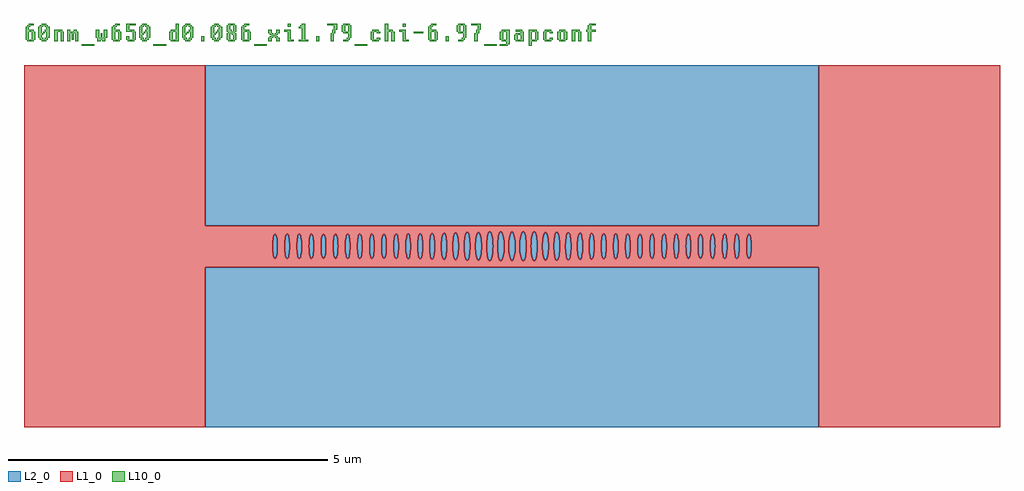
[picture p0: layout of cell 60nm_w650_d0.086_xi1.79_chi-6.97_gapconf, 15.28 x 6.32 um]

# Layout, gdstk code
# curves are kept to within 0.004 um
import gdstk
lib = gdstk.Library(unit=1e-6, precision=1e-09)
def R(c, l, rs):  # rectangles x0, y0, x1, y1
    for r in rs: c.add(gdstk.rectangle(r[:2], r[2:], *l))
def A(c, l, x, y, w, h, nx, ny, dx, dy):  # array of equal rectangles
    R(c, l, [(x+i*dx, y+j*dy, x+i*dx+w, y+j*dy+h) for i in range(nx) for j in range(ny)])
def P(c, l, *ps):  # polygons
    for p in ps: c.add(gdstk.Polygon(p, *l))
L1_0 = (1, 0)
L2_0 = (2, 0)
L10_0 = (10, 0)

c_60nm_w650_d0_086_xi1_79_ = lib.new_cell('60nm_w650_d0.086_xi1.79_chi-6.97_gapconf')
P(c_60nm_w650_d0_086_xi1_79_, L1_0, [(-2.796,0.075),(-2.796,0.325),(-4.803,0.325),(-4.803,2.835),(-7.638,2.835),(-7.638,-0.038),(-3.746,-0.038),(-3.74,0.108),(-3.73,0.162),(-3.709,0.195),(-3.694,0.18),(-3.682,0.138),(-3.671,0),(-3.557,0),(-3.546,0.138),(-3.534,0.18),(-3.519,0.195),(-3.512,0.191),(-3.498,0.162),(-3.487,0.108),(-3.482,-0.038),(-3.367,-0.038),(-3.361,0.108),(-3.351,0.162),(-3.33,0.195),(-3.315,0.18),(-3.303,0.138),(-3.292,0),(-3.178,0),(-3.167,0.138),(-3.155,0.18),(-3.14,0.195),(-3.119,0.162),(-3.108,0.108),(-3.103,-0.038),(-2.988,-0.038),(-2.982,0.108),(-2.972,0.162),(-2.951,0.195),(-2.943,0.191),(-2.929,0.162),(-2.913,0.038),(-2.919,-0.108),(-2.929,-0.162),(-2.943,-0.191),(-2.951,-0.195),(-2.972,-0.162),(-2.988,-0.038),(-3.103,-0.038),(-3.119,-0.162),(-3.133,-0.191),(-3.147,-0.191),(-3.161,-0.162),(-3.172,-0.108),(-3.178,0),(-3.292,0),(-3.303,-0.138),(-3.315,-0.18),(-3.33,-0.195),(-3.351,-0.162),(-3.367,-0.038),(-3.482,-0.038),(-3.498,-0.162),(-3.512,-0.191),(-3.526,-0.191),(-3.54,-0.162),(-3.551,-0.108),(-3.557,0),(-3.671,0),(-3.682,-0.138),(-3.694,-0.18),(-3.709,-0.195),(-3.73,-0.162),(-3.746,-0.038),(-7.638,-0.038),(-7.638,-2.835),(-4.803,-2.835),(-4.803,-0.325),(-2.796,-0.325)],
  [(-1.849,0.075),(-1.835,0.162),(-1.821,0.191),(-1.821,0.325),(-2.796,0.325),(-2.796,0.075),(-2.776,0.18),(-2.761,0.195),(-2.754,0.191),(-2.74,0.162),(-2.729,0.108),(-2.724,-0.038),(-2.609,-0.038),(-2.603,0.108),(-2.593,0.162),(-2.572,0.195),(-2.557,0.18),(-2.545,0.138),(-2.534,0),(-2.42,0),(-2.409,0.138),(-2.397,0.18),(-2.382,0.195),(-2.361,0.162),(-2.35,0.108),(-2.345,-0.038),(-2.23,-0.038),(-2.224,0.108),(-2.214,0.162),(-2.193,0.195),(-2.178,0.18),(-2.166,0.138),(-2.155,0),(-2.041,0),(-2.03,0.138),(-2.018,0.18),(-2.003,0.195),(-1.996,0.191),(-1.982,0.162),(-1.971,0.108),(-1.965,0),(-1.976,-0.138),(-1.989,-0.18),(-2.003,-0.195),(-2.018,-0.18),(-2.03,-0.138),(-2.041,0),(-2.155,0),(-2.166,-0.138),(-2.178,-0.18),(-2.193,-0.195),(-2.214,-0.162),(-2.23,-0.038),(-2.345,-0.038),(-2.355,-0.138),(-2.368,-0.18),(-2.382,-0.195),(-2.397,-0.18),(-2.409,-0.138),(-2.42,0),(-2.534,0),(-2.545,-0.138),(-2.557,-0.18),(-2.572,-0.195),(-2.593,-0.162),(-2.609,-0.038),(-2.724,-0.038),(-2.734,-0.138),(-2.747,-0.18),(-2.761,-0.195),(-2.776,-0.18),(-2.782,-0.162),(-2.796,-0.075),(-2.796,-0.325),(-1.821,-0.325),(-1.821,-0.191),(-1.835,-0.162),(-1.849,-0.075)],
  [(-1.806,0.191),(-1.792,0.162),(-1.782,0.108),(-1.776,0),(-1.663,0),(-1.651,0.139),(-1.639,0.181),(-1.624,0.196),(-1.61,0.181),(-1.597,0.139),(-1.586,0),(-1.475,0),(-1.464,0.141),(-1.451,0.184),(-1.436,0.199),(-1.421,0.184),(-1.408,0.141),(-1.399,0.076),(-1.396,-0.019),(-1.29,-0.019),(-1.288,0.057),(-1.276,0.154),(-1.262,0.193),(-1.247,0.204),(-1.232,0.185),(-1.219,0.141),(-1.209,-0.02),(-1.107,-0.02),(-1.098,0.129),(-1.078,0.197),(-1.062,0.209),(-1.046,0.19),(-1.033,0.144),(-1.024,0.078),(-1.021,-0.02),(-1.033,-0.144),(-1.046,-0.19),(-1.062,-0.209),(-1.078,-0.197),(-1.092,-0.158),(-1.107,-0.02),(-1.209,-0.02),(-1.219,-0.141),(-1.232,-0.185),(-1.247,-0.204),(-1.262,-0.193),(-1.276,-0.154),(-1.29,-0.019),(-1.396,-0.019),(-1.408,-0.141),(-1.421,-0.184),(-1.436,-0.199),(-1.451,-0.184),(-1.464,-0.141),(-1.475,0),(-1.586,0),(-1.597,-0.139),(-1.61,-0.181),(-1.624,-0.196),(-1.639,-0.181),(-1.651,-0.139),(-1.663,0),(-1.776,0),(-1.778,-0.075),(-1.792,-0.162),(-1.806,-0.191),(-1.821,-0.191),(-1.821,-0.325),(-0.888,-0.325),(-0.888,-0.212),(-0.904,-0.185),(-0.917,-0.132),(-0.926,-0.02),(-0.917,0.132),(-0.904,0.185),(-0.888,0.212),(-0.888,0.325),(-1.821,0.325),(-1.821,0.191)],
  [(-0.048,0.082),(-0.031,0.182),(-0.023,0.204),(-0.005,0.227),(-0.005,0.325),(-0.888,0.325),(-0.888,0.212),(-0.871,0.208),(-0.849,0.147),(-0.837,0.04),(-0.837,-0.04),(-0.748,-0.04),(-0.748,0.04),(-0.736,0.147),(-0.722,0.195),(-0.706,0.217),(-0.688,0.21),(-0.667,0.147),(-0.655,0.04),(-0.655,-0.041),(-0.572,-0.041),(-0.572,0.041),(-0.56,0.15),(-0.545,0.199),(-0.528,0.221),(-0.51,0.214),(-0.487,0.15),(-0.475,0),(-0.398,0),(-0.385,0.152),(-0.37,0.201),(-0.352,0.224),(-0.343,0.224),(-0.325,0.201),(-0.31,0.152),(-0.297,0),(-0.225,0),(-0.212,0.153),(-0.188,0.218),(-0.169,0.226),(-0.15,0.203),(-0.135,0.153),(-0.122,0),(-0.135,-0.153),(-0.15,-0.203),(-0.169,-0.226),(-0.188,-0.218),(-0.212,-0.153),(-0.225,0),(-0.297,0),(-0.31,-0.152),(-0.325,-0.201),(-0.343,-0.224),(-0.362,-0.216),(-0.385,-0.152),(-0.398,0),(-0.475,0),(-0.487,-0.15),(-0.502,-0.199),(-0.519,-0.221),(-0.537,-0.214),(-0.553,-0.177),(-0.572,-0.041),(-0.655,-0.041),(-0.673,-0.174),(-0.688,-0.21),(-0.706,-0.217),(-0.73,-0.174),(-0.748,-0.04),(-0.837,-0.04),(-0.855,-0.174),(-0.871,-0.208),(-0.888,-0.212),(-0.888,-0.325),(-0.005,-0.325),(-0.005,-0.227),(-0.023,-0.204),(-0.044,-0.12),(-0.052,0)],
  [(0.048,-0.082),(0.038,-0.153),(0.023,-0.204),(0.005,-0.227),(-0.005,-0.227),(-0.005,-0.325),(0.867,-0.325),(0.867,-0.202),(0.846,-0.132),(0.837,-0.02),(0.846,0.132),(0.867,0.202),(0.867,0.325),(-0.005,0.325),(-0.005,0.227),(0.014,0.219),(0.031,0.182),(0.044,0.12),(0.052,0),(0.122,0),(0.135,0.153),(0.15,0.203),(0.169,0.226),(0.188,0.218),(0.212,0.153),(0.225,0),(0.297,0),(0.31,0.152),(0.325,0.201),(0.343,0.224),(0.362,0.216),(0.385,0.152),(0.395,0.081),(0.397,-0.041),(0.475,-0.041),(0.475,0.041),(0.487,0.15),(0.502,0.199),(0.519,0.221),(0.537,0.214),(0.56,0.15),(0.572,0),(0.654,0),(0.661,0.115),(0.673,0.174),(0.688,0.21),(0.706,0.217),(0.73,0.174),(0.748,0.04),(0.748,-0.04),(0.736,-0.147),(0.722,-0.195),(0.706,-0.217),(0.688,-0.21),(0.673,-0.174),(0.661,-0.115),(0.654,0),(0.572,0),(0.56,-0.15),(0.545,-0.199),(0.528,-0.221),(0.51,-0.214),(0.494,-0.177),(0.475,-0.041),(0.397,-0.041),(0.385,-0.152),(0.37,-0.201),(0.352,-0.224),(0.343,-0.224),(0.325,-0.201),(0.31,-0.152),(0.297,0),(0.225,0),(0.212,-0.153),(0.196,-0.203),(0.178,-0.226),(0.159,-0.218),(0.15,-0.203),(0.135,-0.153),(0.122,0),(0.052,0)],
  [(0.884,0.213),(0.9,0.194),(0.914,0.147),(0.926,0.04),(0.926,-0.02),(1.021,-0.02),(1.03,0.129),(1.043,0.181),(1.058,0.207),(1.066,0.209),(1.082,0.19),(1.095,0.144),(1.104,0.078),(1.107,-0.019),(1.208,-0.019),(1.21,0.057),(1.222,0.154),(1.236,0.193),(1.251,0.204),(1.266,0.185),(1.279,0.141),(1.29,0),(1.396,0),(1.408,0.141),(1.421,0.184),(1.436,0.199),(1.451,0.184),(1.464,0.141),(1.475,0),(1.586,0),(1.597,0.139),(1.61,0.181),(1.624,0.196),(1.632,0.192),(1.646,0.163),(1.656,0.109),(1.662,-0.038),(1.646,-0.163),(1.632,-0.192),(1.624,-0.196),(1.61,-0.181),(1.597,-0.139),(1.586,0),(1.475,0),(1.464,-0.141),(1.451,-0.184),(1.436,-0.199),(1.421,-0.184),(1.408,-0.141),(1.396,0),(1.29,0),(1.279,-0.141),(1.266,-0.185),(1.251,-0.204),(1.236,-0.193),(1.222,-0.154),(1.208,-0.019),(1.107,-0.019),(1.095,-0.144),(1.082,-0.19),(1.066,-0.209),(1.05,-0.197),(1.036,-0.158),(1.021,-0.02),(0.926,-0.02),(0.919,-0.116),(0.908,-0.174),(0.892,-0.208),(0.875,-0.212),(0.867,-0.202),(0.867,-0.325),(1.814,-0.325),(1.814,-0.195),(1.806,-0.191),(1.792,-0.162),(1.776,-0.038),(1.782,0.108),(1.792,0.162),(1.806,0.191),(1.814,0.195),(1.814,0.325),(0.867,0.325),(0.867,0.202),(0.875,0.212)],
  [(2.726,0.075),(2.74,0.162),(2.761,0.195),(2.776,0.18),(2.793,0.108),(2.793,0.325),(1.814,0.325),(1.814,0.195),(1.828,0.18),(1.84,0.138),(1.851,0),(1.965,0),(1.976,0.138),(1.989,0.18),(2.003,0.195),(2.018,0.18),(2.035,0.108),(2.04,-0.038),(2.155,-0.038),(2.161,0.108),(2.171,0.162),(2.185,0.191),(2.193,0.195),(2.207,0.18),(2.219,0.138),(2.23,0),(2.344,0),(2.355,0.138),(2.368,0.18),(2.382,0.195),(2.397,0.18),(2.414,0.108),(2.419,-0.038),(2.534,-0.038),(2.54,0.108),(2.55,0.162),(2.564,0.191),(2.572,0.195),(2.593,0.162),(2.609,0.038),(2.603,-0.108),(2.593,-0.162),(2.572,-0.195),(2.564,-0.191),(2.55,-0.162),(2.534,-0.038),(2.419,-0.038),(2.403,-0.162),(2.389,-0.191),(2.375,-0.191),(2.361,-0.162),(2.35,-0.108),(2.344,0),(2.23,0),(2.219,-0.138),(2.207,-0.18),(2.193,-0.195),(2.185,-0.191),(2.171,-0.162),(2.155,-0.038),(2.04,-0.038),(2.03,-0.138),(2.018,-0.18),(2.003,-0.195),(1.989,-0.18),(1.976,-0.138),(1.965,0),(1.851,0),(1.84,-0.138),(1.828,-0.18),(1.814,-0.195),(1.814,-0.325),(2.793,-0.325),(2.793,-0.108),(2.782,-0.162),(2.768,-0.191),(2.754,-0.191),(2.74,-0.162),(2.726,-0.075)],
  [(2.793,-0.108),(2.793,-0.325),(4.803,-0.325),(4.803,-2.835),(7.638,-2.835),(7.638,2.835),(4.803,2.835),(4.803,0.325),(2.793,0.325),(2.798,-0.038),(2.913,-0.038),(2.919,0.108),(2.929,0.162),(2.943,0.191),(2.951,0.195),(2.965,0.18),(2.977,0.138),(2.988,0),(3.102,0),(3.113,0.138),(3.133,0.191),(3.147,0.191),(3.161,0.162),(3.172,0.108),(3.177,-0.038),(3.292,-0.038),(3.298,0.108),(3.308,0.162),(3.322,0.191),(3.33,0.195),(3.344,0.18),(3.356,0.138),(3.367,0),(3.481,0),(3.492,0.138),(3.505,0.18),(3.519,0.195),(3.534,0.18),(3.551,0.108),(3.556,-0.038),(3.671,-0.038),(3.677,0.108),(3.687,0.162),(3.701,0.191),(3.709,0.195),(3.73,0.162),(3.746,0.038),(3.74,-0.108),(3.73,-0.162),(3.709,-0.195),(3.701,-0.191),(3.687,-0.162),(3.671,-0.038),(3.556,-0.038),(3.54,-0.162),(3.526,-0.191),(3.512,-0.191),(3.498,-0.162),(3.487,-0.108),(3.481,0),(3.367,0),(3.356,-0.138),(3.344,-0.18),(3.33,-0.195),(3.322,-0.191),(3.308,-0.162),(3.292,-0.038),(3.177,-0.038),(3.161,-0.162),(3.147,-0.191),(3.133,-0.191),(3.119,-0.162),(3.108,-0.108),(3.102,0),(2.988,0),(2.977,-0.138),(2.965,-0.18),(2.951,-0.195),(2.943,-0.191),(2.929,-0.162),(2.913,-0.038),(2.798,-0.038)])
R(c_60nm_w650_d0_086_xi1_79_, L2_0, [(-4.803,-2.835,4.803,-0.325), (-4.803,0.325,4.803,2.835)])
P(c_60nm_w650_d0_086_xi1_79_, L2_0, [(1.968,-0.075),(1.982,-0.162),(2.003,-0.195),(2.018,-0.18),(2.035,-0.108),(2.041,0),(2.035,0.108),(2.018,0.18),(2.003,0.195),(1.982,0.162),(1.971,0.108),(1.965,0)],
  [(-0.222,-0.082),(-0.212,-0.153),(-0.188,-0.218),(-0.178,-0.226),(-0.159,-0.218),(-0.135,-0.153),(-0.123,-0.042),(-0.125,0.082),(-0.142,0.181),(-0.15,0.203),(-0.169,0.226),(-0.188,0.218),(-0.212,0.153),(-0.224,0.042)],
  [(3.484,-0.075),(3.498,-0.162),(3.519,-0.195),(3.534,-0.18),(3.551,-0.108),(3.557,0),(3.551,0.108),(3.534,0.18),(3.519,0.195),(3.498,0.162),(3.487,0.108),(3.481,0)],
  [(-3.554,-0.075),(-3.54,-0.162),(-3.534,-0.18),(-3.519,-0.195),(-3.498,-0.162),(-3.487,-0.108),(-3.481,0),(-3.487,0.108),(-3.498,0.162),(-3.519,0.195),(-3.534,0.18),(-3.551,0.108),(-3.557,0)],
  [(3.105,-0.075),(3.119,-0.162),(3.14,-0.195),(3.155,-0.18),(3.172,-0.108),(3.178,0),(3.172,0.108),(3.155,0.18),(3.14,0.195),(3.119,0.162),(3.108,0.108),(3.102,0)],
  [(-3.175,-0.075),(-3.161,-0.162),(-3.155,-0.18),(-3.14,-0.195),(-3.119,-0.162),(-3.108,-0.108),(-3.102,0),(-3.108,0.108),(-3.119,0.162),(-3.14,0.195),(-3.155,0.18),(-3.172,0.108),(-3.178,0)],
  [(2.726,-0.075),(2.74,-0.162),(2.761,-0.195),(2.776,-0.18),(2.793,-0.108),(2.799,0),(2.793,0.108),(2.776,0.18),(2.761,0.195),(2.74,0.162),(2.729,0.108),(2.723,0)],
  [(-2.796,-0.075),(-2.782,-0.162),(-2.776,-0.18),(-2.761,-0.195),(-2.74,-0.162),(-2.729,-0.108),(-2.723,0),(-2.729,0.108),(-2.74,0.162),(-2.761,0.195),(-2.776,0.18),(-2.793,0.108),(-2.799,0)],
  [(2.347,-0.075),(2.361,-0.162),(2.382,-0.195),(2.397,-0.18),(2.414,-0.108),(2.42,0),(2.414,0.108),(2.397,0.18),(2.382,0.195),(2.361,0.162),(2.35,0.108),(2.344,0)],
  [(-2.417,-0.075),(-2.403,-0.162),(-2.397,-0.18),(-2.382,-0.195),(-2.361,-0.162),(-2.35,-0.108),(-2.344,0),(-2.35,0.108),(-2.361,0.162),(-2.382,0.195),(-2.397,0.18),(-2.414,0.108),(-2.42,0)],
  [(-2.038,-0.075),(-2.024,-0.162),(-2.018,-0.18),(-2.003,-0.195),(-1.982,-0.162),(-1.971,-0.108),(-1.965,0),(-1.971,0.108),(-1.982,0.162),(-2.003,0.195),(-2.018,0.18),(-2.035,0.108),(-2.041,0)],
  [(-1.66,-0.075),(-1.646,-0.163),(-1.632,-0.192),(-1.624,-0.196),(-1.61,-0.181),(-1.592,-0.109),(-1.586,0),(-1.592,0.109),(-1.603,0.163),(-1.624,0.196),(-1.632,0.192),(-1.646,0.163),(-1.656,0.109),(-1.663,0)],
  [(1.589,-0.075),(1.603,-0.163),(1.624,-0.196),(1.632,-0.192),(1.646,-0.163),(1.656,-0.109),(1.663,0),(1.66,0.075),(1.646,0.163),(1.632,0.192),(1.624,0.196),(1.603,0.163),(1.592,0.109),(1.586,0)],
  [(1.472,0.076),(1.464,0.141),(1.444,0.196),(1.428,0.196),(1.421,0.184),(1.403,0.111),(1.396,0),(1.399,-0.076),(1.414,-0.166),(1.428,-0.196),(1.436,-0.199),(1.444,-0.196),(1.458,-0.166),(1.469,-0.111),(1.475,0)],
  [(-0.301,0.081),(-0.317,0.18),(-0.343,0.224),(-0.362,0.216),(-0.37,0.201),(-0.391,0.118),(-0.398,0),(-0.391,-0.118),(-0.378,-0.18),(-0.362,-0.216),(-0.352,-0.224),(-0.343,-0.224),(-0.325,-0.201),(-0.31,-0.152),(-0.298,-0.041)],
  [(0.658,-0.079),(0.673,-0.174),(0.688,-0.21),(0.697,-0.217),(0.714,-0.21),(0.736,-0.147),(0.748,-0.04),(0.745,0.079),(0.73,0.174),(0.706,0.217),(0.688,0.21),(0.68,0.195),(0.661,0.115),(0.654,0)],
  [(-1.472,-0.076),(-1.464,-0.141),(-1.444,-0.196),(-1.428,-0.196),(-1.421,-0.184),(-1.403,-0.111),(-1.396,-0.019),(-1.399,0.076),(-1.414,0.166),(-1.428,0.196),(-1.436,0.199),(-1.444,0.196),(-1.458,0.166),(-1.469,0.111),(-1.475,0)],
  [(0.301,-0.081),(0.317,-0.18),(0.343,-0.224),(0.362,-0.216),(0.37,-0.201),(0.391,-0.118),(0.398,0),(0.391,0.118),(0.378,0.18),(0.362,0.216),(0.352,0.224),(0.343,0.224),(0.325,0.201),(0.31,0.152),(0.298,0.041)],
  [(0.222,0.082),(0.212,0.153),(0.188,0.218),(0.178,0.226),(0.159,0.218),(0.135,0.153),(0.123,0.042),(0.125,-0.082),(0.142,-0.181),(0.15,-0.203),(0.169,-0.226),(0.188,-0.218),(0.212,-0.153),(0.224,-0.042)],
  [(0.048,0.082),(0.031,0.182),(0.023,0.204),(0.005,0.227),(-0.005,0.227),(-0.023,0.204),(-0.044,0.12),(-0.052,0),(-0.044,-0.12),(-0.023,-0.204),(-0.005,-0.227),(0.005,-0.227),(0.023,-0.204),(0.044,-0.12),(0.052,0)],
  [(1.287,0.076),(1.273,0.166),(1.251,0.204),(1.243,0.202),(1.228,0.176),(1.217,0.126),(1.208,0.019),(1.213,-0.093),(1.228,-0.176),(1.243,-0.202),(1.251,-0.204),(1.273,-0.166),(1.283,-0.11),(1.29,0)],
  [(-1.285,-0.093),(-1.269,-0.176),(-1.255,-0.202),(-1.247,-0.204),(-1.225,-0.166),(-1.214,-0.11),(-1.208,0),(-1.214,0.11),(-1.225,0.166),(-1.247,0.204),(-1.262,0.193),(-1.281,0.126),(-1.29,0.019)],
  [(-0.921,-0.098),(-0.911,-0.162),(-0.888,-0.212),(-0.871,-0.208),(-0.863,-0.194),(-0.844,-0.116),(-0.837,-0.04),(-0.84,0.079),(-0.855,0.174),(-0.871,0.208),(-0.879,0.213),(-0.888,0.212),(-0.904,0.185),(-0.917,0.132),(-0.926,0.02)],
  [(0.842,-0.098),(0.852,-0.162),(0.875,-0.212),(0.892,-0.208),(0.9,-0.194),(0.919,-0.116),(0.926,-0.04),(0.923,0.079),(0.908,0.174),(0.892,0.208),(0.884,0.213),(0.875,0.212),(0.859,0.185),(0.846,0.132),(0.837,0.02)],
  [(1.106,0.04),(1.095,0.144),(1.074,0.203),(1.066,0.209),(1.05,0.197),(1.03,0.129),(1.021,0.02),(1.026,-0.096),(1.043,-0.181),(1.058,-0.207),(1.066,-0.209),(1.082,-0.19),(1.1,-0.113)],
  [(-1.022,0.04),(-1.033,0.144),(-1.054,0.203),(-1.062,0.209),(-1.078,0.197),(-1.098,0.129),(-1.107,0.02),(-1.102,-0.096),(-1.085,-0.181),(-1.07,-0.207),(-1.062,-0.209),(-1.046,-0.19),(-1.028,-0.113)],
  [(3.677,-0.108),(3.687,-0.162),(3.701,-0.191),(3.709,-0.195),(3.73,-0.162),(3.744,-0.075),(3.746,0.038),(3.74,0.108),(3.73,0.162),(3.709,0.195),(3.701,0.191),(3.687,0.162),(3.673,0.075),(3.671,-0.038)],
  [(1.849,0.075),(1.835,0.162),(1.814,0.195),(1.806,0.191),(1.792,0.162),(1.782,0.108),(1.776,0.038),(1.778,-0.075),(1.792,-0.162),(1.806,-0.191),(1.814,-0.195),(1.835,-0.162),(1.845,-0.108),(1.851,-0.038)],
  [(-1.778,0.075),(-1.792,0.162),(-1.806,0.191),(-1.814,0.195),(-1.835,0.162),(-1.845,0.108),(-1.851,0.038),(-1.849,-0.075),(-1.835,-0.162),(-1.814,-0.195),(-1.806,-0.191),(-1.792,-0.162),(-1.782,-0.108),(-1.776,-0.038)],
  [(-2.157,0.075),(-2.171,0.162),(-2.185,0.191),(-2.193,0.195),(-2.214,0.162),(-2.224,0.108),(-2.23,0.038),(-2.228,-0.075),(-2.214,-0.162),(-2.193,-0.195),(-2.185,-0.191),(-2.171,-0.162),(-2.161,-0.108),(-2.155,-0.038)],
  [(2.228,0.075),(2.214,0.162),(2.193,0.195),(2.185,0.191),(2.171,0.162),(2.161,0.108),(2.155,0.038),(2.157,-0.075),(2.171,-0.162),(2.185,-0.191),(2.193,-0.195),(2.214,-0.162),(2.224,-0.108),(2.23,-0.038)],
  [(-2.536,0.075),(-2.55,0.162),(-2.564,0.191),(-2.572,0.195),(-2.593,0.162),(-2.603,0.108),(-2.609,0.038),(-2.607,-0.075),(-2.593,-0.162),(-2.572,-0.195),(-2.564,-0.191),(-2.55,-0.162),(-2.54,-0.108),(-2.534,-0.038)],
  [(2.607,0.075),(2.593,0.162),(2.572,0.195),(2.564,0.191),(2.55,0.162),(2.54,0.108),(2.534,0.038),(2.536,-0.075),(2.55,-0.162),(2.564,-0.191),(2.572,-0.195),(2.593,-0.162),(2.603,-0.108),(2.609,-0.038)],
  [(-2.915,0.075),(-2.929,0.162),(-2.943,0.191),(-2.951,0.195),(-2.972,0.162),(-2.982,0.108),(-2.988,0.038),(-2.986,-0.075),(-2.972,-0.162),(-2.951,-0.195),(-2.943,-0.191),(-2.929,-0.162),(-2.919,-0.108),(-2.913,-0.038)],
  [(2.986,0.075),(2.972,0.162),(2.951,0.195),(2.943,0.191),(2.929,0.162),(2.919,0.108),(2.913,0.038),(2.915,-0.075),(2.929,-0.162),(2.943,-0.191),(2.951,-0.195),(2.972,-0.162),(2.982,-0.108),(2.988,-0.038)],
  [(-3.294,0.075),(-3.308,0.162),(-3.322,0.191),(-3.33,0.195),(-3.351,0.162),(-3.361,0.108),(-3.367,0.038),(-3.365,-0.075),(-3.351,-0.162),(-3.33,-0.195),(-3.322,-0.191),(-3.308,-0.162),(-3.298,-0.108),(-3.292,-0.038)],
  [(3.365,0.075),(3.351,0.162),(3.33,0.195),(3.322,0.191),(3.308,0.162),(3.298,0.108),(3.292,0.038),(3.294,-0.075),(3.308,-0.162),(3.322,-0.191),(3.33,-0.195),(3.351,-0.162),(3.361,-0.108),(3.367,-0.038)],
  [(-3.673,0.075),(-3.687,0.162),(-3.701,0.191),(-3.709,0.195),(-3.73,0.162),(-3.74,0.108),(-3.746,0.038),(-3.744,-0.075),(-3.73,-0.162),(-3.709,-0.195),(-3.701,-0.191),(-3.687,-0.162),(-3.677,-0.108),(-3.671,-0.038)],
  [(-0.741,-0.115),(-0.73,-0.174),(-0.706,-0.217),(-0.688,-0.21),(-0.68,-0.195),(-0.661,-0.115),(-0.654,0),(-0.661,0.115),(-0.68,0.195),(-0.697,0.217),(-0.714,0.21),(-0.722,0.195),(-0.741,0.115),(-0.748,0.04)],
  [(-0.478,0.08),(-0.487,0.15),(-0.51,0.214),(-0.519,0.221),(-0.537,0.214),(-0.56,0.15),(-0.572,0.041),(-0.569,-0.08),(-0.553,-0.177),(-0.537,-0.214),(-0.528,-0.221),(-0.51,-0.214),(-0.487,-0.15),(-0.475,-0.041)],
  [(0.569,0.08),(0.56,0.15),(0.537,0.214),(0.528,0.221),(0.51,0.214),(0.487,0.15),(0.475,0.041),(0.478,-0.08),(0.494,-0.177),(0.51,-0.214),(0.519,-0.221),(0.537,-0.214),(0.56,-0.15),(0.572,-0.041)])
A(c_60nm_w650_d0_086_xi1_79_, L10_0, -5.613, 3.135, 0.2, 0.025, 3, 1, 1.575, 0)
R(c_60nm_w650_d0_086_xi1_79_, L10_0, [(-6.738,3.135,-6.538,3.16), (-0.438,3.135,-0.238,3.16), (-4.863,3.21,-4.813,3.285), (-3.063,3.21,-3.013,3.285), (-1.038,3.21,-0.988,3.285), (-7.338,3.335,-7.313,3.36), (-5.763,3.335,-5.738,3.36), (-5.088,3.335,-5.063,3.36), (-4.638,3.335,-4.613,3.36), (-1.538,3.335,-1.388,3.36), (-3.513,3.435,-3.463,3.485), (-1.713,3.435,-1.663,3.485)])
P(c_60nm_w650_d0_086_xi1_79_, L10_0, [(-7.463,3.36),(-7.488,3.36),(-7.488,3.385),(-7.563,3.385),(-7.563,3.435),(-7.538,3.435),(-7.538,3.46),(-7.488,3.46),(-7.488,3.485),(-7.563,3.485),(-7.563,3.46),(-7.588,3.46),(-7.588,3.435),(-7.613,3.435),(-7.613,3.235),(-7.563,3.235),(-7.563,3.36),(-7.513,3.36),(-7.513,3.235),(-7.563,3.235),(-7.613,3.235),(-7.588,3.235),(-7.588,3.21),(-7.488,3.21),(-7.488,3.235),(-7.463,3.235)],
  [(-7.263,3.26),(-7.238,3.26),(-7.238,3.435),(-7.263,3.435),(-7.263,3.46),(-7.288,3.46),(-7.288,3.485),(-7.363,3.485),(-7.363,3.46),(-7.388,3.46),(-7.388,3.435),(-7.413,3.435),(-7.413,3.26),(-7.363,3.26),(-7.363,3.31),(-7.338,3.31),(-7.338,3.335),(-7.363,3.335),(-7.363,3.435),(-7.338,3.435),(-7.338,3.46),(-7.313,3.46),(-7.313,3.435),(-7.288,3.435),(-7.288,3.385),(-7.313,3.385),(-7.313,3.36),(-7.288,3.36),(-7.288,3.26),(-7.313,3.26),(-7.313,3.235),(-7.338,3.235),(-7.338,3.26),(-7.363,3.26),(-7.413,3.26),(-7.388,3.26),(-7.388,3.235),(-7.363,3.235),(-7.363,3.21),(-7.288,3.21),(-7.288,3.235),(-7.263,3.235)],
  [(-7.113,3.21),(-7.113,3.36),(-7.063,3.36),(-7.063,3.21),(-7.013,3.21),(-7.013,3.36),(-7.038,3.36),(-7.038,3.385),(-7.163,3.385),(-7.163,3.21)],
  [(-6.913,3.21),(-6.913,3.335),(-6.888,3.335),(-6.888,3.235),(-6.863,3.235),(-6.863,3.335),(-6.838,3.335),(-6.838,3.21),(-6.788,3.21),(-6.788,3.36),(-6.813,3.36),(-6.813,3.385),(-6.863,3.385),(-6.863,3.36),(-6.913,3.36),(-6.913,3.385),(-6.963,3.385),(-6.963,3.21)],
  [(-6.488,3.26),(-6.488,3.21),(-6.438,3.21),(-6.438,3.235),(-6.413,3.235),(-6.413,3.21),(-6.363,3.21),(-6.363,3.26),(-6.338,3.26),(-6.338,3.385),(-6.388,3.385),(-6.388,3.26),(-6.413,3.26),(-6.413,3.335),(-6.438,3.335),(-6.438,3.26),(-6.463,3.26),(-6.463,3.385),(-6.513,3.385),(-6.513,3.26)],
  [(-6.113,3.36),(-6.138,3.36),(-6.138,3.385),(-6.213,3.385),(-6.213,3.435),(-6.188,3.435),(-6.188,3.46),(-6.138,3.46),(-6.138,3.485),(-6.213,3.485),(-6.213,3.46),(-6.238,3.46),(-6.238,3.435),(-6.263,3.435),(-6.263,3.235),(-6.213,3.235),(-6.213,3.36),(-6.163,3.36),(-6.163,3.235),(-6.213,3.235),(-6.263,3.235),(-6.238,3.235),(-6.238,3.21),(-6.138,3.21),(-6.138,3.235),(-6.113,3.235)],
  [(-6.013,3.235),(-6.013,3.21),(-5.913,3.21),(-5.913,3.235),(-5.888,3.235),(-5.888,3.36),(-5.913,3.36),(-5.913,3.385),(-5.988,3.385),(-5.988,3.46),(-5.888,3.46),(-5.888,3.485),(-6.038,3.485),(-6.038,3.36),(-5.938,3.36),(-5.938,3.235),(-5.988,3.235),(-5.988,3.285),(-6.038,3.285),(-6.038,3.235)],
  [(-5.688,3.26),(-5.663,3.26),(-5.663,3.435),(-5.688,3.435),(-5.688,3.46),(-5.713,3.46),(-5.713,3.485),(-5.788,3.485),(-5.788,3.46),(-5.813,3.46),(-5.813,3.435),(-5.838,3.435),(-5.838,3.26),(-5.788,3.26),(-5.788,3.31),(-5.763,3.31),(-5.763,3.335),(-5.788,3.335),(-5.788,3.435),(-5.763,3.435),(-5.763,3.46),(-5.738,3.46),(-5.738,3.435),(-5.713,3.435),(-5.713,3.385),(-5.738,3.385),(-5.738,3.36),(-5.713,3.36),(-5.713,3.26),(-5.738,3.26),(-5.738,3.235),(-5.763,3.235),(-5.763,3.26),(-5.788,3.26),(-5.838,3.26),(-5.813,3.26),(-5.813,3.235),(-5.788,3.235),(-5.788,3.21),(-5.713,3.21),(-5.713,3.235),(-5.688,3.235)],
  [(-5.263,3.485),(-5.263,3.385),(-5.338,3.385),(-5.338,3.36),(-5.363,3.36),(-5.363,3.235),(-5.313,3.235),(-5.313,3.36),(-5.263,3.36),(-5.263,3.235),(-5.313,3.235),(-5.363,3.235),(-5.338,3.235),(-5.338,3.21),(-5.213,3.21),(-5.213,3.485)],
  [(-5.013,3.26),(-4.988,3.26),(-4.988,3.435),(-5.013,3.435),(-5.013,3.46),(-5.038,3.46),(-5.038,3.485),(-5.113,3.485),(-5.113,3.46),(-5.138,3.46),(-5.138,3.435),(-5.163,3.435),(-5.163,3.26),(-5.113,3.26),(-5.113,3.31),(-5.088,3.31),(-5.088,3.335),(-5.113,3.335),(-5.113,3.435),(-5.088,3.435),(-5.088,3.46),(-5.063,3.46),(-5.063,3.435),(-5.038,3.435),(-5.038,3.385),(-5.063,3.385),(-5.063,3.36),(-5.038,3.36),(-5.038,3.26),(-5.063,3.26),(-5.063,3.235),(-5.088,3.235),(-5.088,3.26),(-5.113,3.26),(-5.163,3.26),(-5.138,3.26),(-5.138,3.235),(-5.113,3.235),(-5.113,3.21),(-5.038,3.21),(-5.038,3.235),(-5.013,3.235)],
  [(-4.563,3.26),(-4.538,3.26),(-4.538,3.435),(-4.563,3.435),(-4.563,3.46),(-4.588,3.46),(-4.588,3.485),(-4.663,3.485),(-4.663,3.46),(-4.688,3.46),(-4.688,3.435),(-4.713,3.435),(-4.713,3.26),(-4.663,3.26),(-4.663,3.31),(-4.638,3.31),(-4.638,3.335),(-4.663,3.335),(-4.663,3.435),(-4.638,3.435),(-4.638,3.46),(-4.613,3.46),(-4.613,3.435),(-4.588,3.435),(-4.588,3.385),(-4.613,3.385),(-4.613,3.36),(-4.588,3.36),(-4.588,3.26),(-4.613,3.26),(-4.613,3.235),(-4.638,3.235),(-4.638,3.26),(-4.663,3.26),(-4.713,3.26),(-4.688,3.26),(-4.688,3.235),(-4.663,3.235),(-4.663,3.21),(-4.588,3.21),(-4.588,3.235),(-4.563,3.235)],
  [(-4.313,3.335),(-4.338,3.335),(-4.338,3.36),(-4.313,3.36),(-4.313,3.46),(-4.338,3.46),(-4.338,3.485),(-4.438,3.485),(-4.438,3.46),(-4.463,3.46),(-4.463,3.385),(-4.413,3.385),(-4.413,3.46),(-4.363,3.46),(-4.363,3.36),(-4.388,3.36),(-4.388,3.385),(-4.413,3.385),(-4.463,3.385),(-4.463,3.36),(-4.438,3.36),(-4.438,3.335),(-4.463,3.335),(-4.463,3.235),(-4.413,3.235),(-4.413,3.335),(-4.388,3.335),(-4.388,3.31),(-4.363,3.31),(-4.363,3.235),(-4.413,3.235),(-4.463,3.235),(-4.438,3.235),(-4.438,3.21),(-4.338,3.21),(-4.338,3.235),(-4.313,3.235)],
  [(-4.088,3.36),(-4.113,3.36),(-4.113,3.385),(-4.188,3.385),(-4.188,3.435),(-4.163,3.435),(-4.163,3.46),(-4.113,3.46),(-4.113,3.485),(-4.188,3.485),(-4.188,3.46),(-4.213,3.46),(-4.213,3.435),(-4.238,3.435),(-4.238,3.235),(-4.188,3.235),(-4.188,3.36),(-4.138,3.36),(-4.138,3.235),(-4.188,3.235),(-4.238,3.235),(-4.213,3.235),(-4.213,3.21),(-4.113,3.21),(-4.113,3.235),(-4.088,3.235)],
  [(-3.788,3.335),(-3.788,3.31),(-3.763,3.31),(-3.763,3.285),(-3.788,3.285),(-3.788,3.26),(-3.813,3.26),(-3.813,3.21),(-3.763,3.21),(-3.763,3.26),(-3.738,3.26),(-3.738,3.285),(-3.713,3.285),(-3.713,3.26),(-3.688,3.26),(-3.688,3.21),(-3.638,3.21),(-3.638,3.26),(-3.663,3.26),(-3.663,3.285),(-3.688,3.285),(-3.688,3.31),(-3.663,3.31),(-3.663,3.335),(-3.638,3.335),(-3.638,3.385),(-3.688,3.385),(-3.688,3.335),(-3.713,3.335),(-3.713,3.31),(-3.738,3.31),(-3.738,3.335),(-3.763,3.335),(-3.763,3.385),(-3.813,3.385),(-3.813,3.335)],
  [(-3.513,3.21),(-3.413,3.21),(-3.413,3.235),(-3.463,3.235),(-3.463,3.385),(-3.563,3.385),(-3.563,3.36),(-3.513,3.36)],
  [(-3.313,3.435),(-3.338,3.435),(-3.338,3.41),(-3.288,3.41),(-3.288,3.235),(-3.338,3.235),(-3.338,3.21),(-3.188,3.21),(-3.188,3.235),(-3.238,3.235),(-3.238,3.485),(-3.288,3.485),(-3.288,3.46),(-3.313,3.46)],
  [(-2.788,3.385),(-2.813,3.385),(-2.813,3.335),(-2.838,3.335),(-2.838,3.21),(-2.788,3.21),(-2.788,3.335),(-2.763,3.335),(-2.763,3.385),(-2.738,3.385),(-2.738,3.485),(-2.888,3.485),(-2.888,3.46),(-2.788,3.46)],
  [(-2.563,3.26),(-2.588,3.26),(-2.588,3.235),(-2.638,3.235),(-2.638,3.21),(-2.563,3.21),(-2.563,3.235),(-2.538,3.235),(-2.538,3.26),(-2.513,3.26),(-2.513,3.46),(-2.538,3.46),(-2.538,3.485),(-2.638,3.485),(-2.638,3.46),(-2.663,3.46),(-2.663,3.36),(-2.613,3.36),(-2.613,3.46),(-2.563,3.46),(-2.563,3.36),(-2.613,3.36),(-2.663,3.36),(-2.638,3.36),(-2.638,3.335),(-2.563,3.335)],
  [(-2.213,3.235),(-2.188,3.235),(-2.188,3.21),(-2.088,3.21),(-2.088,3.235),(-2.063,3.235),(-2.063,3.26),(-2.113,3.26),(-2.113,3.235),(-2.163,3.235),(-2.163,3.36),(-2.113,3.36),(-2.113,3.335),(-2.063,3.335),(-2.063,3.36),(-2.088,3.36),(-2.088,3.385),(-2.188,3.385),(-2.188,3.36),(-2.213,3.36)],
  [(-1.938,3.21),(-1.938,3.36),(-1.888,3.36),(-1.888,3.21),(-1.838,3.21),(-1.838,3.36),(-1.863,3.36),(-1.863,3.385),(-1.938,3.385),(-1.938,3.485),(-1.988,3.485),(-1.988,3.21)],
  [(-1.713,3.21),(-1.613,3.21),(-1.613,3.235),(-1.663,3.235),(-1.663,3.385),(-1.763,3.385),(-1.763,3.36),(-1.713,3.36)],
  [(-1.163,3.36),(-1.188,3.36),(-1.188,3.385),(-1.263,3.385),(-1.263,3.435),(-1.238,3.435),(-1.238,3.46),(-1.188,3.46),(-1.188,3.485),(-1.263,3.485),(-1.263,3.46),(-1.288,3.46),(-1.288,3.435),(-1.313,3.435),(-1.313,3.235),(-1.263,3.235),(-1.263,3.36),(-1.213,3.36),(-1.213,3.235),(-1.263,3.235),(-1.313,3.235),(-1.288,3.235),(-1.288,3.21),(-1.188,3.21),(-1.188,3.235),(-1.163,3.235)],
  [(-0.763,3.26),(-0.788,3.26),(-0.788,3.235),(-0.838,3.235),(-0.838,3.21),(-0.763,3.21),(-0.763,3.235),(-0.738,3.235),(-0.738,3.26),(-0.713,3.26),(-0.713,3.46),(-0.738,3.46),(-0.738,3.485),(-0.838,3.485),(-0.838,3.46),(-0.863,3.46),(-0.863,3.36),(-0.813,3.36),(-0.813,3.46),(-0.763,3.46),(-0.763,3.36),(-0.813,3.36),(-0.863,3.36),(-0.838,3.36),(-0.838,3.335),(-0.763,3.335)],
  [(-0.538,3.385),(-0.563,3.385),(-0.563,3.335),(-0.588,3.335),(-0.588,3.21),(-0.538,3.21),(-0.538,3.335),(-0.513,3.335),(-0.513,3.385),(-0.488,3.385),(-0.488,3.485),(-0.638,3.485),(-0.638,3.46),(-0.538,3.46)],
  [(-0.088,3.16),(-0.188,3.16),(-0.188,3.135),(-0.063,3.135),(-0.063,3.16),(-0.038,3.16),(-0.038,3.385),(-0.163,3.385),(-0.163,3.36),(-0.188,3.36),(-0.188,3.235),(-0.138,3.235),(-0.138,3.36),(-0.088,3.36),(-0.088,3.235),(-0.138,3.235),(-0.188,3.235),(-0.163,3.235),(-0.163,3.21),(-0.088,3.21)],
  [(0.162,3.36),(0.162,3.385),(0.062,3.385),(0.062,3.36),(0.137,3.36),(0.137,3.335),(0.062,3.335),(0.062,3.31),(0.037,3.31),(0.037,3.235),(0.087,3.235),(0.087,3.31),(0.137,3.31),(0.137,3.235),(0.087,3.235),(0.037,3.235),(0.062,3.235),(0.062,3.21),(0.187,3.21),(0.187,3.36)],
  [(0.312,3.135),(0.312,3.21),(0.387,3.21),(0.387,3.235),(0.412,3.235),(0.412,3.36),(0.387,3.36),(0.387,3.385),(0.262,3.385),(0.262,3.235),(0.312,3.235),(0.312,3.36),(0.362,3.36),(0.362,3.235),(0.312,3.235),(0.262,3.235),(0.262,3.135)],
  [(0.487,3.235),(0.512,3.235),(0.512,3.21),(0.612,3.21),(0.612,3.235),(0.637,3.235),(0.637,3.26),(0.587,3.26),(0.587,3.235),(0.537,3.235),(0.537,3.36),(0.587,3.36),(0.587,3.335),(0.637,3.335),(0.637,3.36),(0.612,3.36),(0.612,3.385),(0.512,3.385),(0.512,3.36),(0.487,3.36)],
  [(0.862,3.36),(0.837,3.36),(0.837,3.385),(0.737,3.385),(0.737,3.36),(0.712,3.36),(0.712,3.235),(0.762,3.235),(0.762,3.36),(0.812,3.36),(0.812,3.235),(0.762,3.235),(0.712,3.235),(0.737,3.235),(0.737,3.21),(0.837,3.21),(0.837,3.235),(0.862,3.235)],
  [(0.987,3.21),(0.987,3.36),(1.037,3.36),(1.037,3.21),(1.087,3.21),(1.087,3.36),(1.062,3.36),(1.062,3.385),(0.937,3.385),(0.937,3.21)],
  [(1.187,3.385),(1.162,3.385),(1.162,3.36),(1.187,3.36),(1.187,3.21),(1.237,3.21),(1.237,3.36),(1.312,3.36),(1.312,3.385),(1.237,3.385),(1.237,3.46),(1.312,3.46),(1.312,3.485),(1.212,3.485),(1.212,3.46),(1.187,3.46)])

lib.write_gds('60nm_w650_d0.086_xi1.79_chi-6.97_gapconf.gds')
